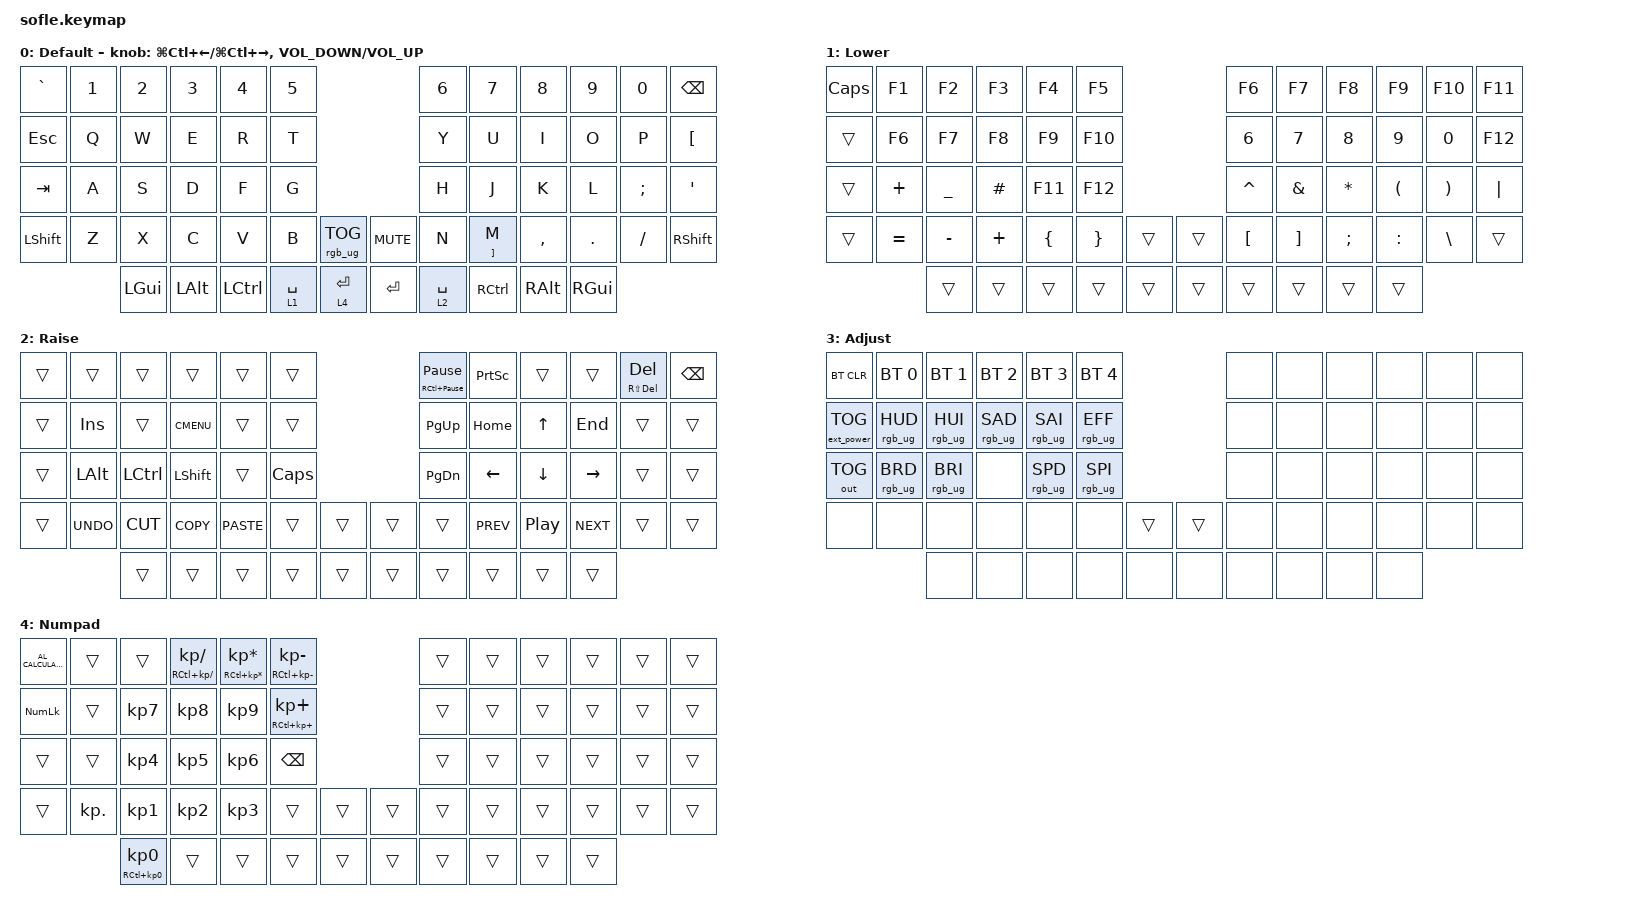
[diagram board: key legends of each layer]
/*
 * Copyright (c) 2020 The ZMK Contributors
 *
 * SPDX-License-Identifier: MIT
 */

#include <behaviors.dtsi>
#include <dt-bindings/zmk/bt.h>
#include <dt-bindings/zmk/ext_power.h>
#include <dt-bindings/zmk/keys.h>
#include <dt-bindings/zmk/outputs.h>
#include <dt-bindings/zmk/rgb.h>

#define BASE 0
#define LOWER 1
#define RAISE 2
#define ADJUST 3
#define NUMBERS 4

/ {
    behaviors {
        lang_switch: Lang_Switch {
            compatible = "zmk,behavior-tap-dance";
            #binding-cells = <0>;
            bindings = <&kp LA(LS(N1))>, <&kp LA(LS(N2))>, <&kp LA(LEFT_SHIFT)>;

            label = "Language switch (Alt+Shift+N)";
        };

        lt_hp: layer_tap_hold_preferred {
            compatible = "zmk,behavior-hold-tap";
            #binding-cells = <2>;
            flavor = "hold-preferred";
            tapping-term-ms = <200>;
            bindings = <&mo>, <&kp>;

            display-name = "Layer-Tap (hold preferred)";
            label = "Layer-Tap (hold preferred)";
        };

        lt1_space_mo4: lt1_space_mo4 {
            compatible = "zmk,behavior-tap-dance";
            label = "TD LT 1\Space, Mo4";
            display-name = "TD LT1\Space, Mo4";
            #binding-cells = <0>;
            bindings = <&lt_hp 1 SPACE>, <&mo 4>;
        };

        mt_hp: mt_hp {
            compatible = "zmk,behavior-hold-tap";
            label = "Mod-tap (hold preferred)";
            bindings = <&kp>, <&kp>;

            #binding-cells = <2>;
            flavor = "tap-preferred";
            tapping-term-ms = <200>;
        };
    };

    // Activate ADJUST layer by pressing raise and lower

    conditional_layers {
        compatible = "zmk,conditional-layers";

        adjust_layer {
            if-layers = <1 2>;
            then-layer = <3>;
        };
    };

    combos {
        compatible = "zmk,combos";

        BootloaderCombo {
            bindings = <&bootloader>;
            key-positions = <6 53 56>;
        };
    };

    keymap {
        compatible = "zmk,keymap";

        default_layer {
            display-name = "Default";
            bindings = <
&kp GRAVE  &kp N1  &kp N2    &kp N3    &kp N4     &kp N5                                         &kp N6       &kp N7                  &kp N8     &kp N9    &kp N0    &kp BACKSPACE
&kp ESC    &kp Q   &kp W     &kp E     &kp R      &kp T                                          &kp Y        &kp U                   &kp I      &kp O     &kp P     &kp LEFT_BRACKET
&kp TAB    &kp A   &kp S     &kp D     &kp F      &kp G                                          &kp H        &kp J                   &kp K      &kp L     &kp SEMI  &kp SQT
&kp LSHFT  &kp Z   &kp X     &kp C     &kp V      &kp B           &rgb_ug RGB_TOG    &kp C_MUTE  &kp N        &mt_hp RIGHT_BRACKET M  &kp COMMA  &kp DOT   &kp FSLH  &kp RSHFT
                   &kp LGUI  &kp LALT  &kp LCTRL  &lt_hp 1 SPACE  &lt 4 ENTER        &kp ENTER   &lt 2 SPACE  &kp RCTRL               &kp RALT   &kp RGUI
            >;

            sensor-bindings =
                <&inc_dec_kp LG(LC(LEFT_ARROW)) LG(LC(RIGHT_ARROW))>,
                <&inc_dec_kp C_VOLUME_DOWN C_VOLUME_UP>;
        };

        lower_layer {
            display-name = "Lower";
            bindings = <
&kp CAPSLOCK  &kp F1     &kp F2     &kp F3    &kp F4    &kp F5                      &kp F6     &kp F7    &kp F8     &kp F9     &kp F10   &kp F11
&trans        &kp F6     &kp F7     &kp F8    &kp F9    &kp F10                     &kp N6     &kp N7    &kp N8     &kp N9     &kp N0    &kp F12
&trans        &kp PLUS   &kp UNDER  &kp HASH  &kp F11   &kp F12                     &kp CARET  &kp AMPS  &kp ASTRK  &kp LPAR   &kp RPAR  &kp PIPE
&trans        &kp EQUAL  &kp MINUS  &kp PLUS  &kp LBRC  &kp RBRC  &trans    &trans  &kp LBKT   &kp RBKT  &kp SEMI   &kp COLON  &kp BSLH  &trans
                         &trans     &trans    &trans    &trans    &trans    &trans  &trans     &trans    &trans     &trans
            >;
        };

        raise_layer {
            display-name = "Raise";
            bindings = <
&trans  &trans      &trans     &trans       &trans       &trans                          &mt RC(PAUSE_BREAK) PAUSE_BREAK  &kp PRINTSCREEN  &trans            &trans      &mt RS(DELETE) DELETE  &kp BACKSPACE
&trans  &kp INS     &trans     &kp K_CMENU  &trans       &trans                          &kp PG_UP                        &kp HOME         &kp UP            &kp END     &trans                 &trans
&trans  &kp LALT    &kp LCTRL  &kp LSHFT    &trans       &kp CAPSLOCK                    &kp PG_DN                        &kp LEFT         &kp DOWN          &kp RIGHT   &trans                 &trans
&trans  &kp K_UNDO  &kp K_CUT  &kp K_COPY   &kp K_PASTE  &trans        &trans    &trans  &trans                           &kp C_PREV       &kp C_PLAY_PAUSE  &kp C_NEXT  &trans                 &trans
                    &trans     &trans       &trans       &trans        &trans    &trans  &trans                           &trans           &trans            &trans
            >;
        };

        adjust_layer {
            display-name = "Adjust";
            bindings = <
&bt BT_CLR         &bt BT_SEL 0     &bt BT_SEL 1     &bt BT_SEL 2     &bt BT_SEL 3     &bt BT_SEL 4                       &none  &none  &none  &none  &none  &none
&ext_power EP_TOG  &rgb_ug RGB_HUD  &rgb_ug RGB_HUI  &rgb_ug RGB_SAD  &rgb_ug RGB_SAI  &rgb_ug RGB_EFF                    &none  &none  &none  &none  &none  &none
&out OUT_TOG       &rgb_ug RGB_BRD  &rgb_ug RGB_BRI  &none            &rgb_ug RGB_SPD  &rgb_ug RGB_SPI                    &none  &none  &none  &none  &none  &none
&none              &none            &none            &none            &none            &none            &trans    &trans  &none  &none  &none  &none  &none  &none
                                    &none            &none            &none            &none            &none     &none   &none  &none  &none  &none
            >;
        };

        num_layer {
            bindings = <
&kp C_AL_CALCULATOR  &trans      &trans               &mt RC(KP_DIVIDE) KP_DIVIDE  &mt RC(KP_MULTIPLY) KP_MULTIPLY  &mt RC(KP_MINUS) KP_MINUS                    &trans  &trans  &trans  &trans  &trans  &trans
&kp KP_NUMLOCK       &trans      &kp KP_N7            &kp KP_NUMBER_8              &kp KP_NUMBER_9                  &mt RC(KP_PLUS) KP_PLUS                      &trans  &trans  &trans  &trans  &trans  &trans
&trans               &trans      &kp KP_N4            &kp KP_NUMBER_5              &kp KP_NUMBER_6                  &kp BACKSPACE                                &trans  &trans  &trans  &trans  &trans  &trans
&trans               &kp KP_DOT  &kp KP_N1            &kp KP_N2                    &kp KP_NUMBER_3                  &trans                     &trans    &trans  &trans  &trans  &trans  &trans  &trans  &trans
                                 &mt RC(KP_N0) KP_N0  &trans                       &trans                           &trans                     &trans    &trans  &trans  &trans  &trans  &trans
            >;

            label = "Numpad";
        };
    };
};
